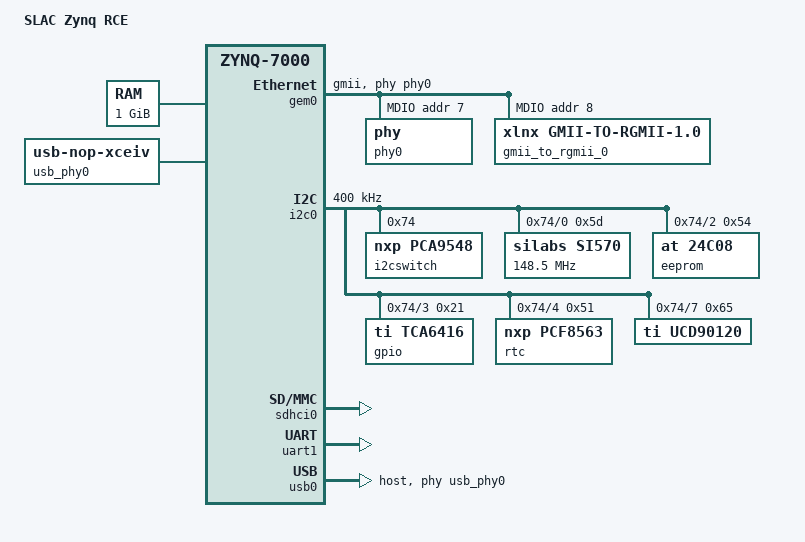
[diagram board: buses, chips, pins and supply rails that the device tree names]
/*
 *  Copyright (C) 2011 - 2014 Xilinx
 *  Copyright (C) 2012 National Instruments Corp.
 *
 * This software is licensed under the terms of the GNU General Public
 * License version 2, as published by the Free Software Foundation, and
 * may be copied, distributed, and modified under those terms.
 *
 * This program is distributed in the hope that it will be useful,
 * but WITHOUT ANY WARRANTY; without even the implied warranty of
 * MERCHANTABILITY or FITNESS FOR A PARTICULAR PURPOSE.  See the
 * GNU General Public License for more details.
 */
/dts-v1/;
/include/ "zynq-7000.dtsi"

/ {
	model = "SLAC Zynq RCE";
	compatible = "xlnx,zynq-rce", "xlnx,zynq-7000";

	aliases {
		ethernet0 = &gem0;
		ethernet1 = &gem1;
		i2c0 = &i2c0;
		serial0 = &uart1;
	};

	memory {
		device_type = "memory";
		reg = <0x0 0x40000000>;
	};
	chosen {
		bootargs = "console=ttyPS0,115200 root=/dev/mmcblk0p3 rootwait rw earlyprintk";
		linux,stdout-path = "/amba/serial@e0001000";
	};

	usb_phy0: phy0 {
		compatible = "usb-nop-xceiv";
		#phy-cells = <0>;
	};

	


    amba {
         axi_stream_dma_0@60000000 {
            compatible = "axi_stream_dma";
            reg = <0x60000000 0x20000>;
            interrupts = <0x0 56 0x4>;
            interrupt-parent = <0x1>;
            slac,acp = <0x0>;
         };

         axi_stream_dma_1@60020000 {
            compatible = "axi_stream_dma";
            reg = <0x60020000 0x20000>;
            interrupts = <0x0 57 0x4>;
            interrupt-parent = <0x1>;
            slac,acp = <0x0>;
         };

         axi_stream_dma_2@60040000 {
            compatible = "axi_stream_dma";
            reg = <0x60040000 0x20000>;
            interrupts = <0x0 58 0x4>;
            interrupt-parent = <0x1>;
            slac,acp = <0x1>;
         };
      };
    
};

&gem0 {
    // device tree refs :
    //
    // <kernel>/Documentation/devicetree/bindings/net/phy.txt
    // <kernel>/Documentation/devicetree/bindings/net/xilinx_gmii2rgmii.txt
    // <kernel>/Documentation/devicetree/bindings/net/ethernet.txt
    // <kernel>/Documentation/devicetree/bindings/net/macb.txt
    //
    // driver files : macb.c, xilinx_gmii2rgmii.c (these 2 files replace xilinx_emapcs.c)
    // also interesting to check : marvell.c, of_mdio.c, of_net.c
  
    //
    local-mac-address = [00 0a 35 00 00 01];
  
    // handles to the physical phy and gmmii2rgmii
    phy-handle = <&phy0>;
    gmii2rgmii-phy-handle = <&gmii_to_rgmii_0>;
  
    // GEM1 operates in gmii mode when using EMIO
    phy-mode = "gmii";
  
    status = "okay";
  
    // deprecated, was used by xilinx_emacps.c driver
    //xlnx,has-mdio = <0x1>;
  
    ps7_ethernet_1_mdio: mdio {
        #address-cells = <1>;
        #size-cells = <0>;
  
        phy0: phy@0 {
            // note : board contains 88e1512, but marvell.c driver only contains 88e1510
            // 'compatible' for phy's is deprecated, see <kernel>/drivers/of/of_mdio.c, and AR# 68095
            // however for use in QEMU, you still need to add the compatible string !!!
            // if enabled, the warning 'whitelisted compatible string' can be ignored
            // compatible = "marvell,88e1510";
  
            device_type = "ethernet-phy";
  
            // phy address = '0' (using the broadcast addr is actually not good, but it's what it is)
            reg = <7>;
        };
  
        gmii_to_rgmii_0: phy@8 {
            // dts bindings : <kernel>/Documentation/devicetree/bindings/net/xilinx_gmii2rgmii.txt
            // use drivers/net/phy/xilinx_gmii2rgmii.c
            compatible = "xlnx,gmii-to-rgmii-1.0";
  
            // gmii2rgmii speed config reg is at phy addr '8' (this addr is set in Vivado during
            // ip config)
            reg = <8>;
  
            // provide a handle to the corresponding physical phy, the driver needs to know
            // the phy to get the actual link speed from, and update gmii2rgmii IP accordingliy
            phy-handle = <&phy0>;
        };
    };
};

&gem1 {
        status = "disabled";	
};



&i2c0 {
	status = "okay";
	clock-frequency = <400000>;

	i2cswitch@74 {
		compatible = "nxp,pca9548";
		#address-cells = <1>;
		#size-cells = <0>;
		reg = <0x74>;

		i2c@0 {
			#address-cells = <1>;
			#size-cells = <0>;
			reg = <0>;
			si570: clock-generator@5d {
				#clock-cells = <0>;
				compatible = "silabs,si570";
				temperature-stability = <50>;
				reg = <0x5d>;
				factory-fout = <156250000>;
				clock-frequency = <148500000>;
			};
		};

		i2c@2 {
			#address-cells = <1>;
			#size-cells = <0>;
			reg = <2>;
			eeprom@54 {
				compatible = "at,24c08";
				reg = <0x54>;
			};
		};

		i2c@3 {
			#address-cells = <1>;
			#size-cells = <0>;
			reg = <3>;
			gpio@21 {
				compatible = "ti,tca6416";
				reg = <0x21>;
				gpio-controller;
				#gpio-cells = <2>;
			};
		};

		i2c@4 {
			#address-cells = <1>;
			#size-cells = <0>;
			reg = <4>;
			rtc@51 {
				compatible = "nxp,pcf8563";
				reg = <0x51>;
			};
		};

		i2c@7 {
			#address-cells = <1>;
			#size-cells = <0>;
			reg = <7>;
			ucd90120@65 {
				compatible = "ti,ucd90120";
				reg = <0x65>;
			};
		};
	};
};

&sdhci0 {
	status = "okay";
};

&uart1 {
	status = "okay";
};

&usb0 {
	status = "okay";
	dr_mode = "host";
	phy_type = "ulpi";
	usb-phy = <&usb_phy0>;
};

